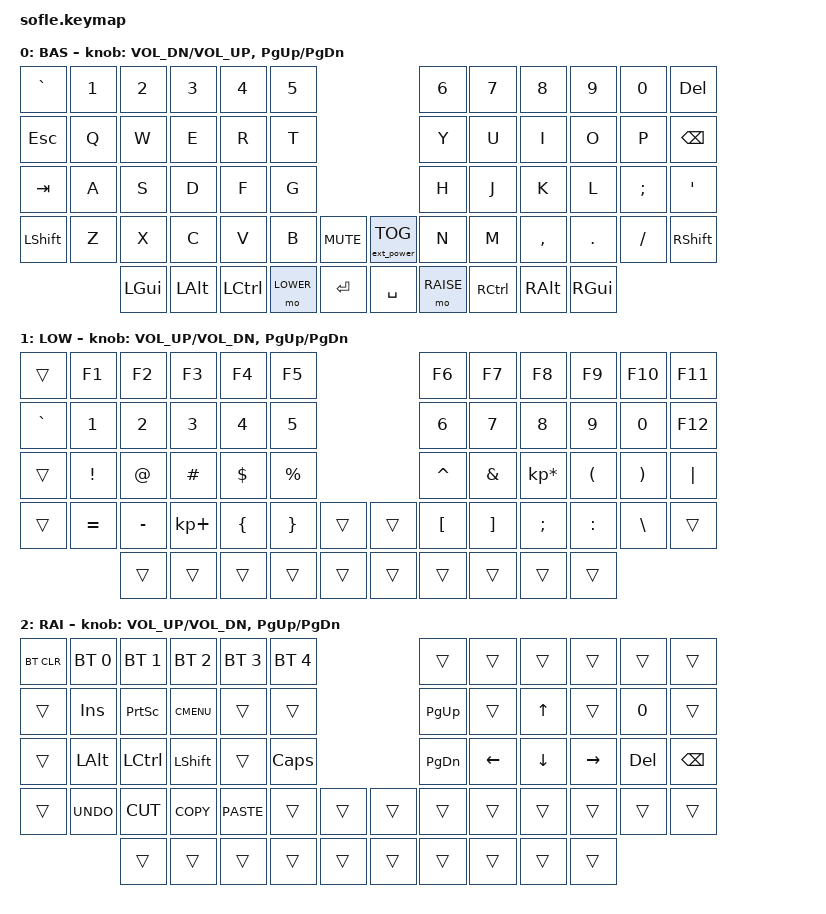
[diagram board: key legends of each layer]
/*
 * Copyright (c) 2020 The ZMK Contributors
 *
 * SPDX-License-Identifier: MIT
 */

#include <behaviors.dtsi>
#include <dt-bindings/zmk/bt.h>
#include <dt-bindings/zmk/ext_power.h>
#include <dt-bindings/zmk/keys.h>

#define BASE 0
#define LOWER 1
#define RAISE 2

// #define ADJUST 3

/ {
    // Activate ADJUST layer by pressing raise and lower
    // conditional_layers {
    //     compatible = "zmk,conditional-layers";
    //     adjust_layer {
    //         if-layers = <LOWER RAISE>;
    //         then-layer = <ADJUST>;
    //     };
    // };

    keymap {
        compatible = "zmk,keymap";

        default_layer {
            display-name = "BAS";

            // ------------------------------------------------------------------------------------------------------------------
            // |  `    |  1  |  2  |  3   |  4   |  5   |                         |  6   |  7    |  8    |  9   |   0   |  DEL  |
            // |  ESC  |  Q  |  W  |  E   |  R   |  T   |                         |  Y   |  U    |  I    |  O   |   P   | BKSPC |
            // |  TAB  |  A  |  S  |  D   |  F   |  G   |                         |  H   |  J    |  K    |  L   |   ;   |   '   |
            // | SHIFT |  Z  |  X  |  C   |  V   |  B   |  MUTE  |        | ExtPw |  N   |  M    |  ,    |  .   |   /   | SHIFT |
            //               | GUI | ALT  | CTRL | LOWER|  ENTER |        | SPACE | RAISE| CTRL  | ALT   | GUI  |

            bindings = <
&kp GRAVE  &kp N1  &kp N2    &kp N3    &kp N4     &kp N5                                      &kp N6     &kp N7     &kp N8     &kp N9    &kp N0    &kp DEL
&kp ESC    &kp Q   &kp W     &kp E     &kp R      &kp T                                       &kp Y      &kp U      &kp I      &kp O     &kp P     &kp BSPC
&kp TAB    &kp A   &kp S     &kp D     &kp F      &kp G                                       &kp H      &kp J      &kp K      &kp L     &kp SEMI  &kp SQT
&kp LSHFT  &kp Z   &kp X     &kp C     &kp V      &kp B      &kp C_MUTE    &ext_power EP_TOG  &kp N      &kp M      &kp COMMA  &kp DOT   &kp FSLH  &kp RSHFT
                   &kp LGUI  &kp LALT  &kp LCTRL  &mo LOWER  &kp RET       &kp SPACE          &mo RAISE  &kp RCTRL  &kp RALT   &kp RGUI
            >;

            sensor-bindings =
                <&inc_dec_kp C_VOL_DN C_VOL_UP>,
                <&inc_dec_kp PG_UP PG_DN>;
        };

        lower_layer {
            display-name = "LOW";

            // ------------------------------------------------------------------------------------------------------------
            // |       |  F1 |  F2 |  F3  |  F4  |  F5  |                   |  F6  |  F7   |  F8   |  F9  |  F10  |  F11  |
            // | `     |   1 |   2 |   3  |   4  |   5  |                   |   6  |   7   |   8   |   9  |    0  |  F12  |
            // |       |  !  |  @  |  #   |  $   |  %   |                   |  ^   |  &    |  *    |  (   |   )   |   |   |
            // |       |  =  |  -  |  +   |  {   |  }   |        |  |       |  [   |  ]    |  ;    |  :   |   \   |       |
            //               |     |      |      |      |        |  |       |      |       |       |      |

            bindings = <
&trans     &kp F1     &kp F2     &kp F3       &kp F4    &kp F5                       &kp F6     &kp F7    &kp F8           &kp F9     &kp F10   &kp F11
&kp GRAVE  &kp N1     &kp N2     &kp N3       &kp N4    &kp N5                       &kp N6     &kp N7    &kp N8           &kp N9     &kp N0    &kp F12
&trans     &kp EXCL   &kp AT     &kp HASH     &kp DLLR  &kp PRCNT                    &kp CARET  &kp AMPS  &kp KP_MULTIPLY  &kp LPAR   &kp RPAR  &kp PIPE
&trans     &kp EQUAL  &kp MINUS  &kp KP_PLUS  &kp LBRC  &kp RBRC   &trans    &trans  &kp LBKT   &kp RBKT  &kp SEMI         &kp COLON  &kp BSLH  &trans
                      &trans     &trans       &trans    &trans     &trans    &trans  &trans     &trans    &trans           &trans
            >;

            sensor-bindings = <&inc_dec_kp C_VOL_UP C_VOL_DN &inc_dec_kp PG_UP PG_DN>;
        };

        raise_layer {
            display-name = "RAI";

            // ------------------------------------------------------------------------------------------------------------
            // | BTCLR | BT1  | BT2  |  BT3  |  BT4  |  BT5 |                |      |      |       |      |       |       |
            // | STDIO | INS  | PSCR | GUI   |       |      |                | PGUP |      |   ^   |      |       |       |
            // |       | ALT  | CTRL | SHIFT |       | CAPS |                | PGDN |   <- |   v   |  ->  |  DEL  | BKSPC |
            // |       | UNDO | CUT  | COPY  | PASTE |      |      |  |      |      |      |       |      |       |       |
            //                |      |       |       |      |      |  |      |      |      |       |      |

            bindings = <
&bt BT_CLR  &bt BT_SEL 0  &bt BT_SEL 1  &bt BT_SEL 2  &bt BT_SEL 3  &bt BT_SEL 4                    &trans     &trans    &trans    &trans     &trans   &trans
&trans      &kp INS       &kp PSCRN     &kp K_CMENU   &trans        &trans                          &kp PG_UP  &trans    &kp UP    &trans     &kp N0   &trans
&trans      &kp LALT      &kp LCTRL     &kp LSHFT     &trans        &kp CLCK                        &kp PG_DN  &kp LEFT  &kp DOWN  &kp RIGHT  &kp DEL  &kp BSPC
&trans      &kp K_UNDO    &kp K_CUT     &kp K_COPY    &kp K_PASTE   &trans        &trans    &trans  &trans     &trans    &trans    &trans     &trans   &trans
                          &trans        &trans        &trans        &trans        &trans    &trans  &trans     &trans    &trans    &trans
            >;

            sensor-bindings = <&inc_dec_kp C_VOL_UP C_VOL_DN &inc_dec_kp PG_UP PG_DN>;
        };

        //         adjust_layer {
        // // ----------------------------------------------------------------------------------------------------------------------------
        // // | BTCLR  |  BT1    |  BT2    |   BT3   |   BT4   |   BT5   |                  |      |      |       |      |       |       |
        // // | EXTPWR |  STDIO  |         |         |         |         |                  |      |      |       |      |       |       |
        // // |        |         |         |         |         |         |                  |      |      |       |      |       |       |
        // // |        |         |         |         |         |         |        | |       |      |      |       |      |       |       |
        // //                    |         |         |         |         |        | |       |      |      |       |      |
        //             display-name = "adjust";
        //             bindings = <
        // &bt BT_CLR        &bt BT_SEL 0    &bt BT_SEL 1    &bt BT_SEL 2    &bt BT_SEL 3    &bt BT_SEL 4                            &none &none &none &none &none &none
        // &studio_unlock  &none           &none           &none           &none                                   &none &none &none &none &none &none
        // &none             &none           &none           &none           &none           &none                                   &none &none &none &none &none &none
        // &none             &none           &none           &none           &none           &none           &none           &none   &none &none &none &none &none &none
        //                                   &none           &none           &none           &none           &none           &none   &none &none &none &none
        //             >;
        //         };
    };
};
